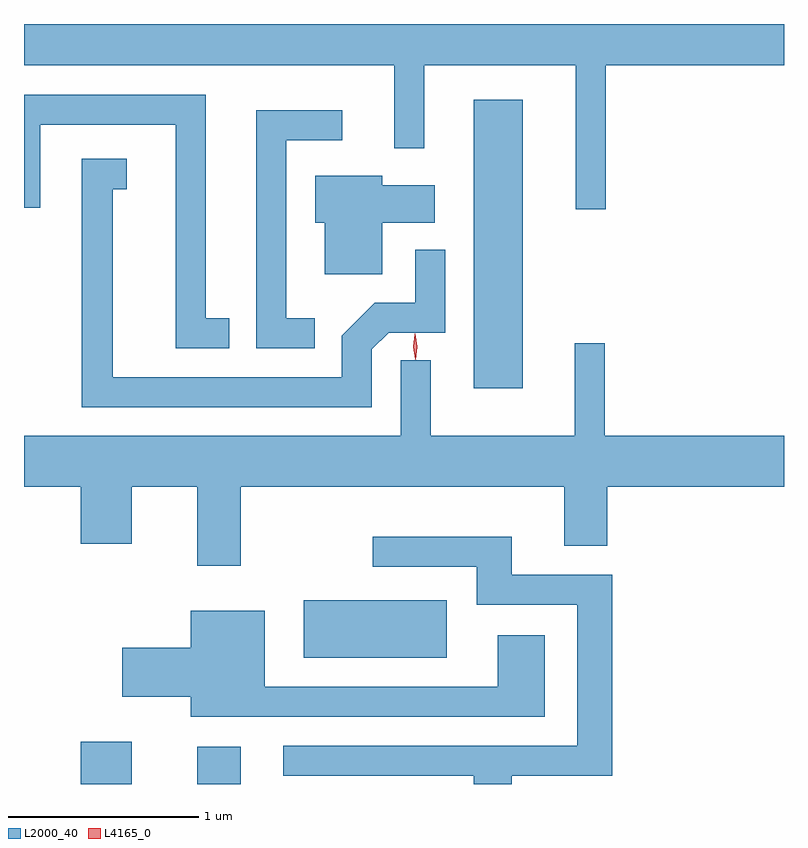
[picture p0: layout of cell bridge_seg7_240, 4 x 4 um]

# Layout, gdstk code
import gdstk
lib = gdstk.Library(unit=1e-6, precision=1e-09)
def R(c, l, rs):  # rectangles x0, y0, x1, y1
    for r in rs: c.add(gdstk.rectangle(r[:2], r[2:], *l))
def P(c, l, *ps):  # polygons
    for p in ps: c.add(gdstk.Polygon(p, *l))
L2000_40 = (2000, 40)
L4165_0 = (4165, 0)

bridge_seg7_240 = lib.new_cell('bridge_seg7_240')
R(bridge_seg7_240, L2000_40, [(1793.496,1706.092,1793.764,1706.314), (1794.111,1706.092,1794.339,1706.289), (1794.671,1706.756,1795.424,1707.059), (1795.566,1708.176,1795.824,1709.694)])
P(bridge_seg7_240, L2000_40, [(1796.259,1709.876),(1797.198,1709.876),(1797.198,1710.092),(1793.198,1710.092),(1793.198,1709.876),(1795.146,1709.876),(1795.146,1709.438),(1795.304,1709.438),(1795.304,1709.876),(1796.101,1709.876),(1796.101,1709.118),(1796.259,1709.118)],
  [(1794.278,1708.544),(1794.154,1708.544),(1794.154,1709.719),(1793.198,1709.719),(1793.198,1709.126),(1793.284,1709.126),(1793.284,1709.561),(1793.996,1709.561),(1793.996,1708.386),(1794.278,1708.386)],
  [(1794.728,1708.544),(1794.579,1708.544),(1794.579,1709.481),(1794.873,1709.481),(1794.873,1709.639),(1794.421,1709.639),(1794.421,1708.386),(1794.728,1708.386)],
  [(1795.029,1708.379),(1795.117,1708.466),(1795.414,1708.466),(1795.414,1708.903),(1795.256,1708.903),(1795.256,1708.624),(1795.044,1708.624),(1794.871,1708.452),(1794.871,1708.234),(1793.664,1708.234),(1793.664,1709.221),(1793.738,1709.221),(1793.738,1709.384),(1793.501,1709.384),(1793.501,1708.076),(1795.029,1708.076)],
  [(1795.084,1709.046),(1795.359,1709.046),(1795.359,1709.244),(1795.084,1709.244),(1795.084,1709.294),(1794.731,1709.294),(1794.731,1709.046),(1794.781,1709.046),(1794.781,1708.776),(1795.084,1708.776)],
  [(1794.339,1707.656),(1796.041,1707.656),(1796.041,1707.346),(1796.269,1707.346),(1796.269,1707.656),(1797.198,1707.656),(1797.198,1707.924),(1796.254,1707.924),(1796.254,1708.413),(1796.096,1708.413),(1796.096,1707.924),(1795.339,1707.924),(1795.339,1708.323),(1795.181,1708.323),(1795.181,1707.924),(1793.198,1707.924),(1793.198,1707.656),(1793.496,1707.656),(1793.496,1707.356),(1793.764,1707.356),(1793.764,1707.656),(1794.111,1707.656),(1794.111,1707.241),(1794.339,1707.241)],
  [(1795.764,1706.136),(1796.294,1706.136),(1796.294,1707.194),(1795.764,1707.194),(1795.764,1707.394),(1795.033,1707.394),(1795.033,1707.236),(1795.581,1707.236),(1795.581,1707.036),(1796.111,1707.036),(1796.111,1706.294),(1794.563,1706.294),(1794.563,1706.136),(1795.566,1706.136),(1795.566,1706.092),(1795.764,1706.092)],
  [(1795.939,1706.874),(1795.691,1706.874),(1795.691,1706.604),(1794.464,1706.604),(1794.464,1707.004),(1794.076,1707.004),(1794.076,1706.809),(1793.716,1706.809),(1793.716,1706.551),(1794.076,1706.551),(1794.076,1706.446),(1795.939,1706.446)])
P(bridge_seg7_240, L4165_0, [(1795.256,1708.328),(1795.246,1708.394),(1795.254,1708.46),(1795.255,1708.461),(1795.255,1708.46),(1795.266,1708.394),(1795.257,1708.328),(1795.257,1708.328)],
  [(1795.259,1708.324),(1795.259,1708.325),(1795.248,1708.394),(1795.256,1708.463),(1795.257,1708.463),(1795.257,1708.463),(1795.268,1708.394),(1795.26,1708.325)])

lib.write_gds('bridge_seg7_240.gds')
